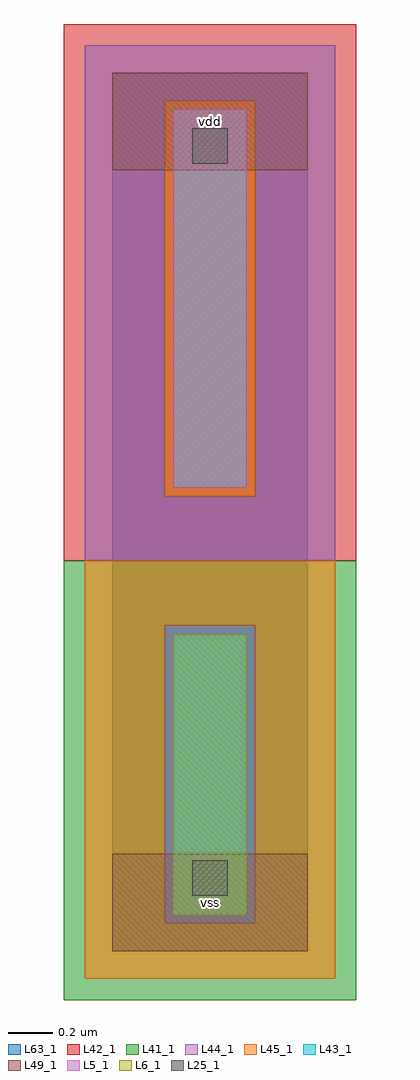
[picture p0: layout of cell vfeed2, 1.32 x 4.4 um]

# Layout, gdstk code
import gdstk
lib = gdstk.Library(unit=1e-6, precision=1e-09)
def R(c, l, rs):  # rectangles x0, y0, x1, y1
    for r in rs: c.add(gdstk.rectangle(r[:2], r[2:], *l))
L5_1 = (5, 1)
L6_1 = (6, 1)
L25_1 = (25, 1)
L41_1 = (41, 1)
L42_1 = (42, 1)
L43_1 = (43, 1)
L44_1 = (44, 1)
L45_1 = (45, 1)
L49_1 = (49, 1)
L63_1 = (63, 1)

vfeed2 = lib.new_cell('vfeed2')
R(vfeed2, L5_1, [(0.275,2.09,0.605,3.795)])
R(vfeed2, L6_1, [(0.275,0.165,0.605,1.43)])
R(vfeed2, L25_1, [(0.36,0.25,0.52,0.41), (0.36,3.55,0.52,3.71)])
R(vfeed2, L41_1, [(-0.22,-0.22,1.1,1.76)])
R(vfeed2, L42_1, [(-0.22,1.76,1.1,4.18)])
R(vfeed2, L43_1, [(0.275,0.165,0.605,1.43), (0.275,2.09,0.605,3.795)])
R(vfeed2, L44_1, [(0.235,0.125,0.645,1.47), (-0.125,1.76,1.005,2.05), (-0.125,2.05,0.235,3.835), (0.645,2.05,1.005,3.835), (-0.125,3.835,1.005,4.085)])
R(vfeed2, L45_1, [(-0.125,-0.125,1.005,0.125), (-0.125,0.125,0.235,1.47), (0.645,0.125,1.005,1.47), (-0.125,1.47,1.005,1.76), (0.235,2.05,0.645,3.835)])
R(vfeed2, L49_1, [(0,0,0.88,0.44), (0,3.52,0.88,3.96)])
R(vfeed2, L63_1, [(0,0,0.88,3.96)])
vfeed2.add(gdstk.Label('vss', (0.44,0.22), layer=49, texttype=1))
vfeed2.add(gdstk.Label('vdd', (0.44,3.74), layer=49, texttype=1))

lib.write_gds('vfeed2.gds')
